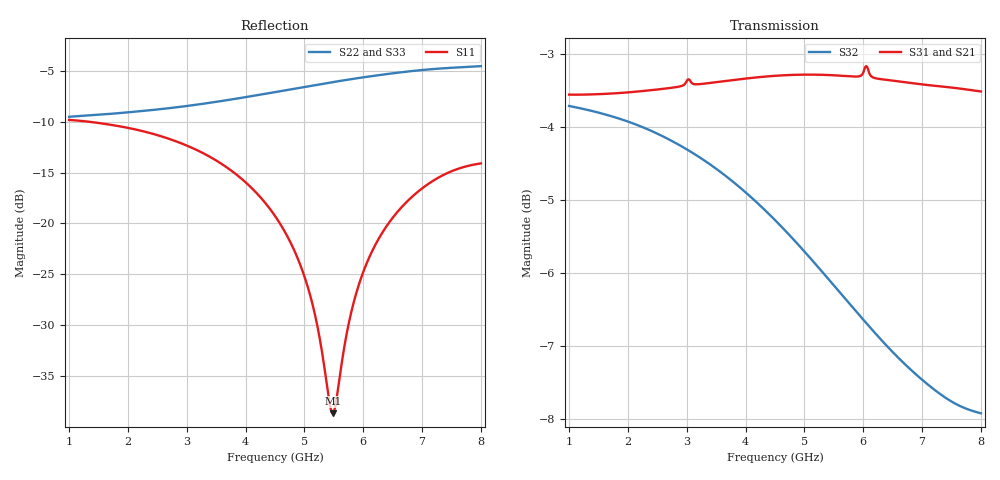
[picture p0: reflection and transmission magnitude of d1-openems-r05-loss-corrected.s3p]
! Order 0 openEMS d1 (r05), 43 um PEC copper, nominal FR408HR; loss-corrected (ratio (port line)) against openEMS's own 0.40 mm line
! 50 ohm, e^(+jwt)
# GHz S RI R 50
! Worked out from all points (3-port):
!   701 points, 1 GHz to 8 GHz, reference 50 ohm
!   strongest paths, dB at 1 GHz, 2.75 GHz, 4.5 GHz, 6.25 GHz, 8 GHz:
!     S31: -3.6, -3.5, -3.3, -3.3, -3.5
!     S21: -3.6, -3.5, -3.3, -3.3, -3.5
!     S32: -3.7, -4.2, -5.3, -6.9, -7.9
!   lowest |S11| = -38.6 dB at 5.48 GHz (marker M1), VSWR 1.02, Z = 48.9 + j0.234 ohm
!   |S11| at or under -10 dB: 1.304 GHz to end of sweep
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1  -0.3124 0.0776  0.5935 -0.297  0.5937 -0.2973
   0.5929 -0.2979  -0.2894 0.1659  0.5384 -0.3679
   0.5931 -0.2982  0.5384 -0.3679  -0.2887 0.1658
1.86  -0.2669 0.1359  0.4314 -0.5072  0.4314 -0.5071
      0.4311 -0.5071  -0.1902 0.2913  0.2823 -0.5733
      0.4311 -0.5071  0.2823 -0.5733  -0.1903 0.2913
2.65  -0.2019 0.1684  0.2188 -0.6337  0.219 -0.6336
      0.2187 -0.6336  -0.0428 0.3637  -0.00942 -0.6199
      0.2188 -0.6336  -0.00942 -0.6199  -0.043 0.3637
4.5  -0.0322 0.104  -0.3652 -0.5784  -0.3652 -0.5788
     -0.3652 -0.5777  0.3762 0.2297  -0.4837 -0.2505
     -0.3652 -0.5781  -0.4837 -0.2505  0.3755 0.2296
5.06  -0.0105 0.0474  -0.5106 -0.4569  -0.5109 -0.4573
      -0.5105 -0.4563  0.4602 0.0974  -0.5078 -0.0868
      -0.5108 -0.4566  -0.5078 -0.0868  0.4595 0.0974
5.48  -0.0115 0.00239  -0.5937 -0.3406  -0.5941 -0.3408
      -0.5936 -0.3401  0.4929 -0.0194  -0.4918 0.0262
      -0.5939 -0.3403  -0.4918 0.0262  0.4923 -0.0194
5.85  -0.025 -0.0341  -0.6448 -0.2256  -0.6451 -0.2256
      -0.6446 -0.2251  0.4968 -0.1281  -0.4593 0.1137
      -0.6449 -0.2251  -0.4593 0.1137  0.4963 -0.1281
6.29  -0.0544 -0.0677  -0.6756 -0.0803  -0.6759 -0.0802
      -0.6754 -0.0801  0.4702 -0.2553  -0.405 0.2
      -0.6756 -0.0799  -0.405 0.2  0.4698 -0.2553
7.06  -0.1248 -0.0886  -0.6511 0.1742  -0.6513 0.1747
      -0.6511 0.1737  0.3503 -0.4467  -0.2891 0.3067
      -0.6513 0.1742  -0.2891 0.3067  0.3494 -0.4468
8  -0.1929 -0.0403  -0.5033 0.4392  -0.5032 0.4393
   -0.5033 0.4379  0.129 -0.5764  -0.1367 0.3776
   -0.5032 0.438  -0.1367 0.3776  0.1288 -0.5764
